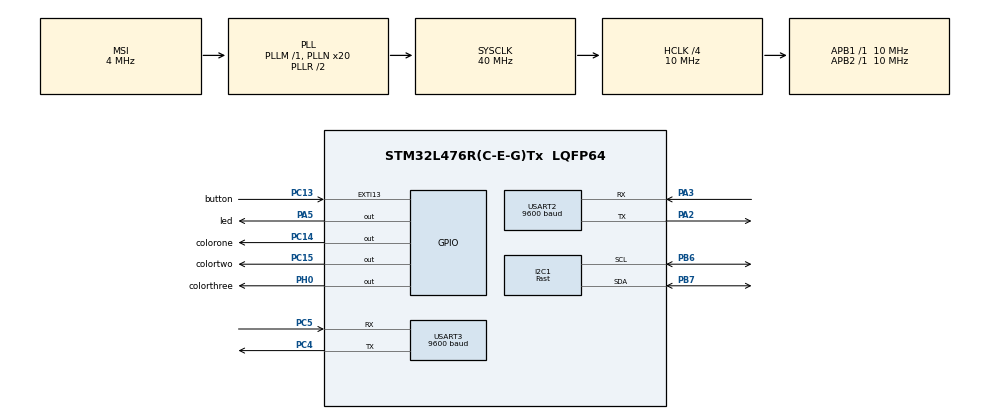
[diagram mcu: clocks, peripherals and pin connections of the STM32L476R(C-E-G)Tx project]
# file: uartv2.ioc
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I2C1.I2C_Speed_Mode=I2C_Fast
I2C1.Timing=0x0000030F
Mcu.Family=STM32L4
Mcu.Name=STM32L476R(C-E-G)Tx
Mcu.Package=LQFP64
NVIC.EXTI15_10_IRQn=true\:0\:0\:false\:false\:true\:true\:true\:true
NVIC.PriorityGroup=NVIC_PRIORITYGROUP_4
NVIC.USART3_IRQn=true\:0\:0\:false\:false\:true\:true\:true\:true
PA2.Mode=Asynchronous
PA2.Signal=USART2_TX
PA3.Mode=Asynchronous
PA3.Signal=USART2_RX
PA5.GPIO_Label=led
PA5.Signal=GPIO_Output
PB6.Mode=I2C
PB6.Signal=I2C1_SCL
PB7.Mode=I2C
PB7.Signal=I2C1_SDA
PC13.GPIO_Label=button
PC13.Signal=GPXTI13
PC14-OSC32_IN\ (PC14).GPIO_Label=colorone
PC14-OSC32_IN\ (PC14).Signal=GPIO_Output
PC15-OSC32_OUT\ (PC15).GPIO_Label=colortwo
PC15-OSC32_OUT\ (PC15).Signal=GPIO_Output
PC4.Mode=Asynchronous
PC4.Signal=USART3_TX
PC5.Mode=Asynchronous
PC5.Signal=USART3_RX
PH0-OSC_IN\ (PH0).GPIO_Label=colorthree
PH0-OSC_IN\ (PH0).Signal=GPIO_Output
ProjectManager.HeapSize=0x200
ProjectManager.StackSize=0x400
ProjectManager.TargetToolchain=STM32CubeIDE
RCC.AHBCLKDivider=RCC_SYSCLK_DIV4
RCC.AHBFreq_Value=10000000
RCC.APB1Freq_Value=10000000
RCC.APB1TimFreq_Value=10000000
RCC.APB2Freq_Value=10000000
RCC.APB2TimFreq_Value=10000000
RCC.CortexFreq_Value=10000000
RCC.HCLKFreq_Value=10000000
RCC.HSE_VALUE=8000000
RCC.HSI_VALUE=16000000
RCC.LSE_VALUE=32768
RCC.MSI_VALUE=4000000
RCC.PLLN=20
RCC.SYSCLKFreq_VALUE=40000000
RCC.SYSCLKSource=RCC_SYSCLKSOURCE_PLLCLK
RCC.VCOOutputFreq_Value=80000000
USART2.BaudRate=9600
USART2.VirtualMode-Asynchronous=VM_ASYNC
USART3.BaudRate=9600
USART3.VirtualMode-Asynchronous=VM_ASYNC
board=custom

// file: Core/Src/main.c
/* USER CODE BEGIN Header */
/**
  ******************************************************************************
  * @file           : main.c
  * @brief          : Main program body
  ******************************************************************************
  * @attention
  *
  * Copyright (c) 2022 STMicroelectronics.
  * All rights reserved.
  *
  * This software is licensed under terms that can be found in the LICENSE file
  * in the root directory of this software component.
  * If no LICENSE file comes with this software, it is provided AS-IS.
  *
  ******************************************************************************
  */
/* USER CODE END Header */
#include "main.h"

/* USER CODE BEGIN Includes */
#include "ssd1306.h"
#include "test.h"
#include "fonts.h"
#include <stdbool.h>
#include <stdio.h>
/* USER CODE END Includes */

I2C_HandleTypeDef hi2c1;

UART_HandleTypeDef huart2;
UART_HandleTypeDef huart3;

void SystemClock_Config(void);
static void MX_GPIO_Init(void);
static void MX_USART2_UART_Init(void);
static void MX_USART3_UART_Init(void);
static void MX_I2C1_Init(void);

/* USER CODE BEGIN 0 */
 uint8_t buff[24];
char buf[16];
char buf1[16];
char buf2[16];
int pm1;
int pm25;
int pm10;
/* USER CODE END 0 */

int main(void)
{

  /* MCU Configuration--------------------------------------------------------*/

  /* Reset of all peripherals, Initializes the Flash interface and the Systick. */
  HAL_Init();

  /* Configure the system clock */
  SystemClock_Config();

  /* Initialize all configured peripherals */
  MX_GPIO_Init();
  MX_USART2_UART_Init();
  MX_USART3_UART_Init();
  MX_I2C1_Init();
  /* USER CODE BEGIN 2 */
    SSD1306_Init();
    SSD1306_Clear();

      SSD1306_GotoXY(25, 5);
      SSD1306_Puts("WELCOME", &Font_11x18, 1);
      SSD1306_UpdateScreen();
      HAL_Delay(2000);
      SSD1306_Clear();

  HAL_GPIO_TogglePin(led_GPIO_Port, led_Pin);
  HAL_Delay(100);
  HAL_GPIO_TogglePin(led_GPIO_Port, led_Pin);

  /* USER CODE END 2 */

  /* Infinite loop */
  /* USER CODE BEGIN WHILE */
  while (1)
  {

		HAL_UART_Receive_IT(&huart3, &buff, 24);

		if(buff[0] == 0x42)
		  {

		        pm25=(buff[6]<<8) | buff[5];
		        pm10=(buff[8]<<8) | buff[9];

		        pm1 = (buff[4]<<8)| buff[5];
		        // rest of values (if you want to use it)
		        //PM1=((buffer[3]<<8) + buffer[4]);
		        //PM1a=((buffer[9]<<8) + buffer[10]);
		        //PM25a=((buffer[11]<<8) + buffer[12]);
		        //PM10a=((buffer[13]<<8) + buffer[14]);
		  }

		if(pm10<=20 || pm25<=13){

			HAL_GPIO_WritePin(colorone_GPIO_Port, colorone_Pin, GPIO_PIN_SET);

		}else if(pm10<=50 || pm25<=35){

			HAL_GPIO_WritePin(colortwo_GPIO_Port, colortwo_Pin, GPIO_PIN_SET);

		}else {

			HAL_GPIO_WritePin(colorthree_GPIO_Port, colorthree_Pin, GPIO_PIN_SET);
		}

		sprintf(buf,"PM1=%d ug/m3",pm1);
		sprintf(buf1,"PM2.5=%d ug/m3",pm25);
		sprintf(buf2,"PM10=%d ug/m3",pm10);

	  		  SSD1306_Fill(SSD1306_COLOR_BLACK);
	  		  SSD1306_GotoXY(10, 5);
	  		  SSD1306_Puts(buf, &Font_7x10, 1);

	  		  SSD1306_GotoXY(10, 25);
	          SSD1306_Puts(buf1, &Font_7x10, 1);

	          SSD1306_GotoXY(10, 45);
	          SSD1306_Puts(buf2, &Font_7x10, 1);

	          SSD1306_UpdateScreen();

    /* USER CODE END WHILE */

  }
}

void SystemClock_Config(void)
{
  RCC_OscInitTypeDef RCC_OscInitStruct = {0};
  RCC_ClkInitTypeDef RCC_ClkInitStruct = {0};

  /** Configure the main internal regulator output voltage
  */
  if (HAL_PWREx_ControlVoltageScaling(PWR_REGULATOR_VOLTAGE_SCALE1) != HAL_OK)
  {
    Error_Handler();
  }
  /** Initializes the RCC Oscillators according to the specified parameters
  * in the RCC_OscInitTypeDef structure.
  */
  RCC_OscInitStruct.OscillatorType = RCC_OSCILLATORTYPE_MSI;
  RCC_OscInitStruct.MSIState = RCC_MSI_ON;
  RCC_OscInitStruct.MSICalibrationValue = 0;
  RCC_OscInitStruct.MSIClockRange = RCC_MSIRANGE_6;
  RCC_OscInitStruct.PLL.PLLState = RCC_PLL_ON;
  RCC_OscInitStruct.PLL.PLLSource = RCC_PLLSOURCE_MSI;
  RCC_OscInitStruct.PLL.PLLM = 1;
  RCC_OscInitStruct.PLL.PLLN = 20;
  RCC_OscInitStruct.PLL.PLLP = RCC_PLLP_DIV7;
  RCC_OscInitStruct.PLL.PLLQ = RCC_PLLQ_DIV2;
  RCC_OscInitStruct.PLL.PLLR = RCC_PLLR_DIV2;
  if (HAL_RCC_OscConfig(&RCC_OscInitStruct) != HAL_OK)
  {
    Error_Handler();
  }
  /** Initializes the CPU, AHB and APB buses clocks
  */
  RCC_ClkInitStruct.ClockType = RCC_CLOCKTYPE_HCLK|RCC_CLOCKTYPE_SYSCLK
                              |RCC_CLOCKTYPE_PCLK1|RCC_CLOCKTYPE_PCLK2;
  RCC_ClkInitStruct.SYSCLKSource = RCC_SYSCLKSOURCE_PLLCLK;
  RCC_ClkInitStruct.AHBCLKDivider = RCC_SYSCLK_DIV4;
  RCC_ClkInitStruct.APB1CLKDivider = RCC_HCLK_DIV1;
  RCC_ClkInitStruct.APB2CLKDivider = RCC_HCLK_DIV1;

  if (HAL_RCC_ClockConfig(&RCC_ClkInitStruct, FLASH_LATENCY_0) != HAL_OK)
  {
    Error_Handler();
  }
}

static void MX_I2C1_Init(void)
{

  hi2c1.Instance = I2C1;
  hi2c1.Init.Timing = 0x0000030F;
  hi2c1.Init.OwnAddress1 = 0;
  hi2c1.Init.AddressingMode = I2C_ADDRESSINGMODE_7BIT;
  hi2c1.Init.DualAddressMode = I2C_DUALADDRESS_DISABLE;
  hi2c1.Init.OwnAddress2 = 0;
  hi2c1.Init.OwnAddress2Masks = I2C_OA2_NOMASK;
  hi2c1.Init.GeneralCallMode = I2C_GENERALCALL_DISABLE;
  hi2c1.Init.NoStretchMode = I2C_NOSTRETCH_DISABLE;
  if (HAL_I2C_Init(&hi2c1) != HAL_OK)
  {
    Error_Handler();
  }
  /** Configure Analogue filter
  */
  if (HAL_I2CEx_ConfigAnalogFilter(&hi2c1, I2C_ANALOGFILTER_ENABLE) != HAL_OK)
  {
    Error_Handler();
  }
  /** Configure Digital filter
  */
  if (HAL_I2CEx_ConfigDigitalFilter(&hi2c1, 0) != HAL_OK)
  {
    Error_Handler();
  }

}

static void MX_USART2_UART_Init(void)
{

  huart2.Instance = USART2;
  huart2.Init.BaudRate = 9600;
  huart2.Init.WordLength = UART_WORDLENGTH_8B;
  huart2.Init.StopBits = UART_STOPBITS_1;
  huart2.Init.Parity = UART_PARITY_NONE;
  huart2.Init.Mode = UART_MODE_TX_RX;
  huart2.Init.HwFlowCtl = UART_HWCONTROL_NONE;
  huart2.Init.OverSampling = UART_OVERSAMPLING_16;
  huart2.Init.OneBitSampling = UART_ONE_BIT_SAMPLE_DISABLE;
  huart2.AdvancedInit.AdvFeatureInit = UART_ADVFEATURE_NO_INIT;
  if (HAL_UART_Init(&huart2) != HAL_OK)
  {
    Error_Handler();
  }

}

static void MX_USART3_UART_Init(void)
{

  huart3.Instance = USART3;
  huart3.Init.BaudRate = 9600;
  huart3.Init.WordLength = UART_WORDLENGTH_8B;
  huart3.Init.StopBits = UART_STOPBITS_1;
  huart3.Init.Parity = UART_PARITY_NONE;
  huart3.Init.Mode = UART_MODE_TX_RX;
  huart3.Init.HwFlowCtl = UART_HWCONTROL_NONE;
  huart3.Init.OverSampling = UART_OVERSAMPLING_16;
  huart3.Init.OneBitSampling = UART_ONE_BIT_SAMPLE_DISABLE;
  huart3.AdvancedInit.AdvFeatureInit = UART_ADVFEATURE_NO_INIT;
  if (HAL_UART_Init(&huart3) != HAL_OK)
  {
    Error_Handler();
  }

}

static void MX_GPIO_Init(void)
{
  GPIO_InitTypeDef GPIO_InitStruct = {0};

  /* GPIO Ports Clock Enable */
  __HAL_RCC_GPIOC_CLK_ENABLE();
  __HAL_RCC_GPIOH_CLK_ENABLE();
  __HAL_RCC_GPIOA_CLK_ENABLE();
  __HAL_RCC_GPIOB_CLK_ENABLE();

  /*Configure GPIO pin Output Level */
  HAL_GPIO_WritePin(GPIOC, colorone_Pin|colortwo_Pin, GPIO_PIN_RESET);

  /*Configure GPIO pin Output Level */
  HAL_GPIO_WritePin(colorthree_GPIO_Port, colorthree_Pin, GPIO_PIN_RESET);

  /*Configure GPIO pin Output Level */
  HAL_GPIO_WritePin(led_GPIO_Port, led_Pin, GPIO_PIN_RESET);

  /*Configure GPIO pin : button_Pin */
  GPIO_InitStruct.Pin = button_Pin;
  GPIO_InitStruct.Mode = GPIO_MODE_IT_RISING;
  GPIO_InitStruct.Pull = GPIO_NOPULL;
  HAL_GPIO_Init(button_GPIO_Port, &GPIO_InitStruct);

  /*Configure GPIO pins : colorone_Pin colortwo_Pin */
  GPIO_InitStruct.Pin = colorone_Pin|colortwo_Pin;
  GPIO_InitStruct.Mode = GPIO_MODE_OUTPUT_PP;
  GPIO_InitStruct.Pull = GPIO_NOPULL;
  GPIO_InitStruct.Speed = GPIO_SPEED_FREQ_LOW;
  HAL_GPIO_Init(GPIOC, &GPIO_InitStruct);

  /*Configure GPIO pin : colorthree_Pin */
  GPIO_InitStruct.Pin = colorthree_Pin;
  GPIO_InitStruct.Mode = GPIO_MODE_OUTPUT_PP;
  GPIO_InitStruct.Pull = GPIO_NOPULL;
  GPIO_InitStruct.Speed = GPIO_SPEED_FREQ_LOW;
  HAL_GPIO_Init(colorthree_GPIO_Port, &GPIO_InitStruct);

  /*Configure GPIO pin : led_Pin */
  GPIO_InitStruct.Pin = led_Pin;
  GPIO_InitStruct.Mode = GPIO_MODE_OUTPUT_PP;
  GPIO_InitStruct.Pull = GPIO_NOPULL;
  GPIO_InitStruct.Speed = GPIO_SPEED_FREQ_LOW;
  HAL_GPIO_Init(led_GPIO_Port, &GPIO_InitStruct);

  /* EXTI interrupt init*/
  HAL_NVIC_SetPriority(EXTI15_10_IRQn, 0, 0);
  HAL_NVIC_EnableIRQ(EXTI15_10_IRQn);

}

/* USER CODE BEGIN 4 */
void HAL_UART_RxCpltCallback(UART_HandleTypeDef *huart){
	if(huart->Instance == USART3){
		HAL_UART_Transmit(&huart2, &buff, 24, 1500);
	}

}
/* USER CODE END 4 */

void Error_Handler(void)
{
  __disable_irq();
  while (1)
  {
  }
}
